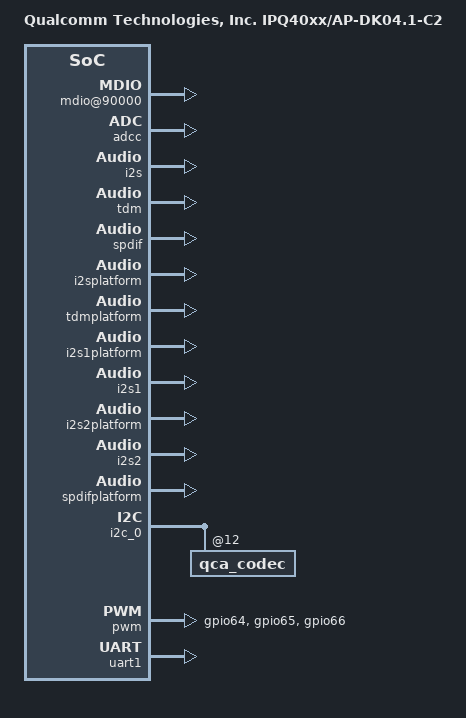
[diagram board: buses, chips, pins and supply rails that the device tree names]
/* Copyright (c) 2015, The Linux Foundation. All rights reserved.
 *
 * Permission to use, copy, modify, and/or distribute this software for any
 * purpose with or without fee is hereby granted, provided that the above
 * copyright notice and this permission notice appear in all copies.
 *
 * THE SOFTWARE IS PROVIDED "AS IS" AND THE AUTHOR DISCLAIMS ALL WARRANTIES
 * WITH REGARD TO THIS SOFTWARE INCLUDING ALL IMPLIED WARRANTIES OF
 * MERCHANTABILITY AND FITNESS. IN NO EVENT SHALL THE AUTHOR BE LIABLE FOR
 * ANY SPECIAL, DIRECT, INDIRECT, OR CONSEQUENTIAL DAMAGES OR ANY DAMAGES
 * WHATSOEVER RESULTING FROM LOSS OF USE, DATA OR PROFITS, WHETHER IN AN
 * ACTION OF CONTRACT, NEGLIGENCE OR OTHER TORTIOUS ACTION, ARISING OUT OF
 * OR IN CONNECTION WITH THE USE OR PERFORMANCE OF THIS SOFTWARE.
 *
 */

#include "qcom-ipq40xx-ap.dk04.1.dtsi"
#include "qcom-ipq40xx-audio.dtsi"

/ {
	model = "Qualcomm Technologies, Inc. IPQ40xx/AP-DK04.1-C2";

	soc {
		pinctrl@0x01000000 {
			audio_gpio_pins: audio_gpio_pinmux {
				mux_1 {
					pins = "gpio58", "gpio60", "gpio61", "gpio62";
					function = "gpio";
					output-high;
				};

				mux_2 {
					pins = "gpio54";
					function = "gpio";
					output-high;
				};

				mux_3 {
					pins = "gpio52", "gpio57";
					function = "gpio";
					output-high;
				};

				mux_4 {
					pins = "gpio55";
					function = "gpio";
					output-high;
				};

				mux_5 {
					pins = "gpio56";
					function = "gpio";
					output-high;
				};

				mux_6 {
					pins = "gpio53", "gpio59";
					function = "gpio";
					output-high;
				};

				mux_7 {
					pins = "gpio63";
					function = "gpio";
					output-high;
				};

				mux_8 {
					pins = "gpio48", "gpio49", "gpio50", "gpio51";
					function = "gpio";
					output-high;
				};
			};

			audio_pins: audio_pinmux {
				mux_1 {
					pins = "gpio58", "gpio60", "gpio61", "gpio62";
					function = "audio0";
				};

				mux_2 {
					pins = "gpio54";
					function = "audio_spdifout";
				};

				mux_3 {
					pins = "gpio52", "gpio57";
					function = "audio1";
				};

				mux_4 {
					pins = "gpio55";
					function = "audio_td2";
				};

				mux_5 {
					pins = "gpio56";
					function = "audio_td3";
				};

				mux_6 {
					pins = "gpio53", "gpio59";
					function = "audio2";
				};

				mux_7 {
					pins = "gpio63";
					function = "audio_td1";
				};

				mux_8 {
					pins = "gpio48", "gpio49", "gpio50", "gpio51";
					function = "aud_pin";
				};
			};

			pwm_pins: pwm_pinmux {
				mux_1 {
					/* function is audio_pwm0 */
					pins = "gpio64";
					function = "audio1";
				};

				mux_2 {
					/* function is audio_pwm1 */
					pins = "gpio65";
					function = "audio2";
				};

				mux_3 {
					/* function is audio_pwm2 */
					pins = "gpio66";
					function = "audio_pwm0";
				};
			};

		};

		mdio@90000 {
			status = "ok";
			pinctrl-0 = <&mdio_pins>;
			pinctrl-names = "default";
			phy-reset-gpio = <&tlmm 67 0>;
			bias-disable;
		};

		adcc: clock-controller@7700038 {
			status = "ok";
		};

		/* Enable Audio Interfaces */
		i2s: ipq40xx-pcm-i2s@0 {
			status = "ok";
		};

		tdm: tdm@0 {
			status = "ok";
		};

		spdif: spdif@0 {
			status = "ok";
		};

		i2splatform: qca-pcm-i2s@7709000 {
			status = "ok";
		};

		tdmplatform: qca-pcm-tdm@7709000 {
			status = "ok";
		};

		i2s1platform: qca-pcm-i2s1@770b000 {
			status = "ok";
		};

		i2s1: ipq40xx-pcm-i2s1@0 {
			status = "ok";
		};

		i2s2platform: qca-pcm-i2s2@770d000 {
			status = "ok";
		};

		i2s2: ipq40xx-pcm-i2s2@0 {
			status = "ok";
		};

		spdifplatform: qca-pcm-spdif@7707000 {
			status = "ok";
		};

		sound: sound@0 {
			status = "ok";
			pinctrl-0 = <&audio_gpio_pins>;
			pinctrl-1 = <&audio_pins>;
			pinctrl-names = "default", "audio";
		};

		i2c_0: i2c@78b7000 { /* BLSP1 QUP2 */
			status = "ok";

			qca_codec: qca_codec@12 {
				status = "ok";
			};
		};

		/* Enable VOIP Interfaces */
		pcm: pcm@7704000 {
			status = "ok";
		};

		pcm_lb: pcm_lb@0 {
			status = "ok";
		};

		pwm {
			pinctrl-0 = <&pwm_pins>;
			pinctrl-names = "default";
			used-pwm-indices = <1>, <1>, <1>, <0>;
			status = "ok";
		};

		serial@78b0000 {
			status = "disabled";
		};

		uart1:uart@78b0000 {
			status = "ok";
		};

	};
};
